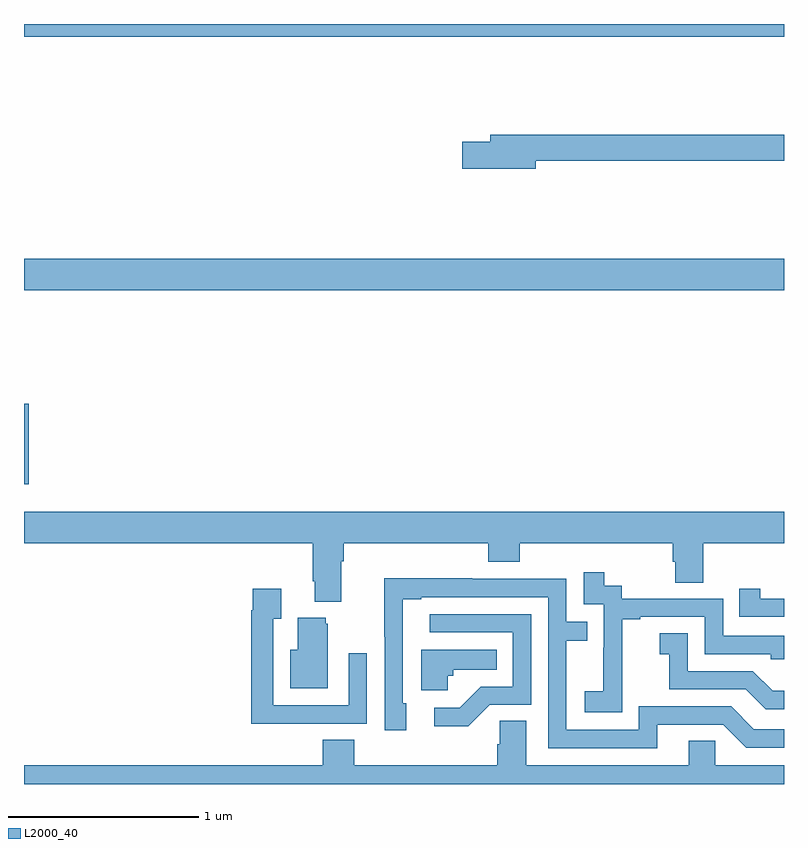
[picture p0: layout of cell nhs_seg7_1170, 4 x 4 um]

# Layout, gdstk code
import gdstk
lib = gdstk.Library(unit=1e-6, precision=1e-09)
def R(c, l, rs):  # rectangles x0, y0, x1, y1
    for r in rs: c.add(gdstk.rectangle(r[:2], r[2:], *l))
def P(c, l, *ps):  # polygons
    for p in ps: c.add(gdstk.Polygon(p, *l))
L2000_40 = (2000, 40)

nhs_seg7_1170 = lib.new_cell('nhs_seg7_1170')
R(nhs_seg7_1170, L2000_40, [(193,1015.578,193.025,1016.002), (193,1016.6,197,1016.764), (193,1017.932,197,1018)])
P(nhs_seg7_1170, L2000_40, [(195.694,1017.28),(197,1017.28),(197,1017.416),(195.455,1017.416),(195.455,1017.38),(195.306,1017.38),(195.306,1017.238),(195.694,1017.238)],
  [(194.671,1015.172),(194.684,1015.172),(194.684,1015.268),(195.443,1015.268),(195.443,1015.169),(195.608,1015.169),(195.608,1015.268),(196.415,1015.268),(196.415,1015.17),(196.427,1015.17),(196.427,1015.06),(196.575,1015.06),(196.575,1015.268),(197,1015.268),(197,1015.432),(193,1015.432),(193,1015.268),(194.519,1015.268),(194.519,1015.066),(194.531,1015.066),(194.531,1014.959),(194.671,1014.959)],
  [(196.149,1014.583),(196.148,1014.583),(196.148,1014.867),(196.243,1014.867),(196.243,1014.879),(196.584,1014.879),(196.584,1014.684),(196.929,1014.684),(196.929,1014.657),(197,1014.657),(197,1014.78),(196.68,1014.78),(196.68,1014.975),(196.146,1014.975),(196.146,1015.044),(196.054,1015.044),(196.054,1015.114),(195.945,1015.114),(195.945,1014.945),(196.05,1014.945),(196.05,1014.716),(196.049,1014.716),(196.049,1014.487),(195.951,1014.487),(195.951,1014.377),(196.149,1014.377)],
  [(196.333,1014.312),(196.68,1014.312),(196.8,1014.192),(197,1014.192),(197,1014.288),(196.842,1014.288),(196.722,1014.408),(196.236,1014.408),(196.236,1014.285),(195.855,1014.285),(195.855,1014.754),(195.965,1014.754),(195.965,1014.855),(195.855,1014.855),(195.855,1015.08),(195.359,1015.08),(195.359,1015.082),(194.896,1015.082),(194.896,1014.775),(194.898,1014.775),(194.898,1014.282),(195.013,1014.282),(195.013,1014.426),(194.994,1014.426),(194.994,1014.972),(195.091,1014.972),(195.091,1014.984),(195.759,1014.984),(195.759,1014.189),(196.333,1014.189)],
  [(197,1014.975),(196.876,1014.975),(196.876,1015.027),(196.765,1015.027),(196.765,1014.879),(197,1014.879)],
  [(194.489,1014.318),(194.805,1014.318),(194.805,1014.688),(194.709,1014.688),(194.709,1014.414),(194.313,1014.414),(194.313,1014.871),(194.353,1014.871),(194.353,1015.027),(194.205,1015.027),(194.205,1014.914),(194.197,1014.914),(194.197,1014.317),(194.489,1014.317)],
  [(195.45,1014.417),(195.669,1014.417),(195.669,1014.894),(195.135,1014.894),(195.135,1014.798),(195.573,1014.798),(195.573,1014.513),(195.404,1014.513),(195.293,1014.402),(195.159,1014.402),(195.159,1014.305),(195.337,1014.305)],
  [(194.599,1014.843),(194.588,1014.843),(194.588,1014.874),(194.441,1014.874),(194.441,1014.706),(194.402,1014.706),(194.402,1014.503),(194.599,1014.503)],
  [(197,1014.49),(196.94,1014.49),(196.836,1014.594),(196.494,1014.594),(196.494,1014.793),(196.347,1014.793),(196.347,1014.683),(196.396,1014.683),(196.396,1014.498),(196.799,1014.498),(196.904,1014.393),(197,1014.393)],
  [(195.231,1014.57),(195.258,1014.57),(195.258,1014.602),(195.488,1014.602),(195.488,1014.706),(195.092,1014.706),(195.092,1014.494),(195.231,1014.494)],
  [(193,1014),(197,1014),(197,1014.1),(196.638,1014.1),(196.638,1014.227),(196.499,1014.227),(196.499,1014.1),(195.643,1014.1),(195.643,1014.332),(195.504,1014.332),(195.504,1014.209),(195.491,1014.209),(195.491,1014.1),(194.738,1014.1),(194.738,1014.233),(194.573,1014.233),(194.573,1014.1),(193,1014.1)])

lib.write_gds('nhs_seg7_1170.gds')
